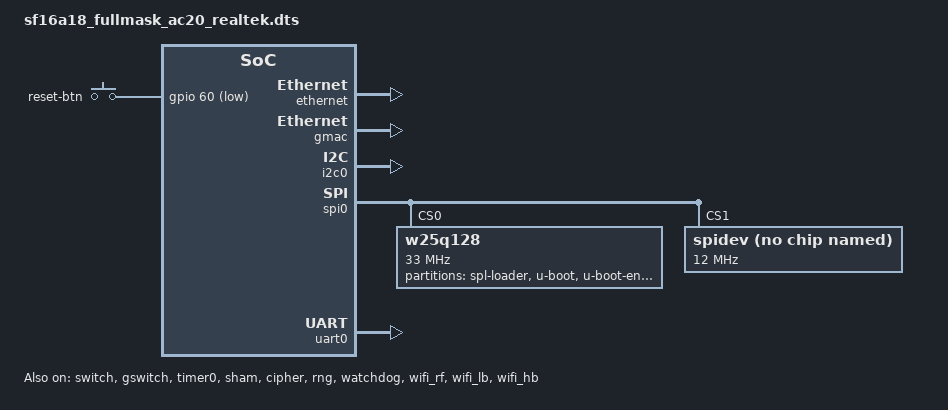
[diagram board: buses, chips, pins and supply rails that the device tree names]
/dts-v1/;

#include "sf16a18_full_mask.dtsi"
#include "sf16a18-thermal_p10h.dtsi"


/ {
	#address-cells = <1>;
	#size-cells = <1>;
	compatible = "siflower,sf16a18-soc";

	eth0-led {
		compatible = "eth-led";
		pinctrl-names = "default",  "gpio";
		pinctrl-0 = <&eth0_led>;
		pinctrl-1 = <&eth0_led_gpio>;
		eth0 {
			label = "eth_led0";
			gpios = <&gpio 55 1>;
			default-state = "on";
		};
	};

	eth1-led {
		compatible = "eth-led";
		pinctrl-names = "default",  "gpio";
		pinctrl-0 = <&eth1_led>;
		pinctrl-1 = <&eth1_led_gpio>;
		eth1 {
			label = "eth_led1";
			gpios = <&gpio 56 1>;
			default-state = "on";
		};
	};
};

&ethernet {
	shutdown-portlist = "ll***";
        led-on-off-time = /bits/ 16 <0xff 0x2ff>;
	status = "okay";
	smp-affinity = <2>;
};

&switch{
	sfax8,port-map = "ll***";
	status = "okay";
	smp-affinity = <2>;
};

&gmac {
	gswitch = "realtek";
	status = "okay";
	smp-affinity = <0>;
};

&gswitch {
	status = "okay";
};

&gdma {
	status = "okay";
};

&i2c0 {
	status = "okay";
	#address-cells = <1>;
	#size-cells = <0>;
};


&gpio_keys {
	status = "okay";
	reset-btn@60 {
		label = "reset-btn";
		linux,code = <0x198>;
		gpios = <&gpio 60 1>;
		poll-interval = <10>;
		debounce-interval = <20>;
	};
};

&spi0 {
	status = "okay";
	//use-dma;
	dmas = <&gdma 10
	&gdma 11>;
	dma-names = "tx", "rx";

	#address-cells = <1>;
	#size-cells = <0>;

	w25q128@0 {
		compatible = "w25q128";
		reg = <0>;	/* chip select */
		spi-max-frequency = <33000000>;

		bank-width = <2>;
		device-width = <2>;
		#address-cells = <1>;
		#size-cells = <1>;

		partition@0 {
			label = "spl-loader";
			reg = <0x0 0x20000>; /* 128k */
			read-only;
		};

		partition@20000 {
			label = "u-boot";
			reg = <0x20000 0x60000>; /* 384k */
		};

		partition@80000 {
			label = "u-boot-env";
			reg = <0x80000 0x10000>; /* 64k */
		};

		factory:partition@90000 {
			label = "factory";
			reg = <0x90000 0x10000>; /* 64k */
		};

		partition@a0000 {
			label = "firmware";
			reg = <0xa0000 0x760000>; /* 640k-16M */
		};
	};

	spidev: spi@8200000 {
		compatible = "rohm,dh2228fv";
		reg = <1>;
		clock = <50000000>;
		spi-cpha;
		spi-cpol;
		spi-max-frequency=<12000000>;
	};
};

&uart0 {
	status = "okay";
};

&timer0 {
	status = "okay";
};

&sham {
	status = "okay";
};

&cipher {
	status = "okay";
};

&rng {
	status = "okay";
};
&watchdog {
	status = "okay";
};

&wifi_rf {
	status = "okay";
	gpio-expa = <&gpio 51 0>;
};

&wifi_lb {
	status = "okay";

	#address-cells = <1>;
	#size-cells = <0>;
	gpio-leds = <&gpio 36 0>;
	smp-affinity = <2>;
};

&wifi_hb {
	status = "okay";

	#address-cells = <1>;
	#size-cells = <0>;
	gpio-leds = <&gpio 36 0>;
	smp-affinity = <3>;
};
